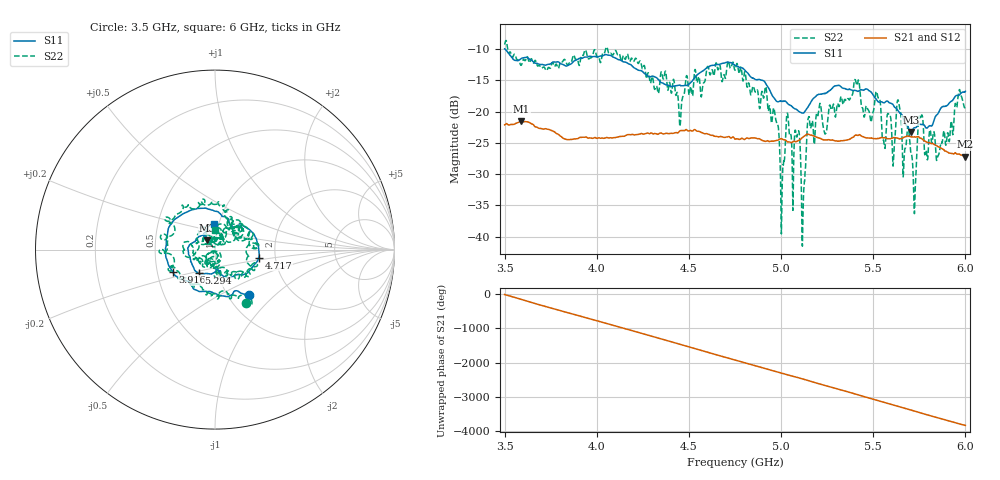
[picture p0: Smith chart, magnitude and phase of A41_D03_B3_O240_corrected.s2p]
! Created with skrf 1.9.0 (http://scikit-rf.org).
# Hz S RI R 50.0
!freq ReS11 ImS11 ReS21 ImS21 ReS12 ImS12 ReS22 ImS22
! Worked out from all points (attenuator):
!   1601 points, 3.5 GHz to 6 GHz, reference 50 ohm
!   highest |S21| = -21.58 dB at 3.591 GHz (marker M1); lowest = -27.2 dB at 6 GHz (marker M2)
!   lowest |S11| = -23.3 dB at 5.703 GHz (marker M3), VSWR 1.15, Z = 45.5 + j4.72 ohm
!   |S11| at or under -10 dB: 3.501 GHz to end of sweep
!   |S22| runs from -41.5 to -8.6 dB; largest |S21 - S12| = 0.00097
!   S11 on the Smith chart (normalised r, x): 3.5 GHz: 1.25, -0.70; 3.916 GHz: 0.60, -0.16; 4.717 GHz: 1.64, -0.15; 5.294 GHz: 0.81, -0.22; 6 GHz: 0.95, +0.28
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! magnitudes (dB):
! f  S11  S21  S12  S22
! 3.5 GHz  -10.0  -22.1  -22.1  -9.3
! 3.591 GHz  -11.5  -21.6  -21.6  -12.6
! 3.916 GHz  -11.5  -24.1  -24.1  -11.2
! 3.917 GHz  -11.5  -24.1  -24.1  -11.0
! 4.334 GHz  -14.9  -23.6  -23.6  -17.1
! 4.455 GHz  -15.8  -23.0  -23.0  -21.5
! 4.717 GHz  -12.1  -24.0  -24.1  -12.2
! 4.75 GHz  -12.6  -24.4  -24.3  -13.4
! 4.969 GHz  -18.1  -24.7  -24.6  -20.9
! 5.006 GHz  -18.4  -24.4  -24.4  -31.5
! 5.034 GHz  -18.7  -24.9  -24.8  -20.3
! 5.088 GHz  -19.7  -24.7  -24.7  -23.8
! 5.12 GHz  -20.2  -24.1  -24.0  -35.0
! 5.167 GHz  -18.2  -23.8  -23.8  -21.6
! 5.294 GHz  -15.9  -24.7  -24.6  -20.8
! 5.411 GHz  -16.7  -23.8  -23.8  -15.6
! 5.584 GHz  -18.5  -24.3  -24.3  -20.4
! 5.703 GHz  -23.3  -24.0  -24.0  -26.4
! 5.723 GHz  -22.6  -24.0  -24.0  -36.3
! 5.756 GHz  -22.0  -24.2  -24.2  -21.2
! 5.852 GHz  -20.3  -25.6  -25.5  -27.1
! 6 GHz  -16.8  -27.2  -27.1  -19.4
